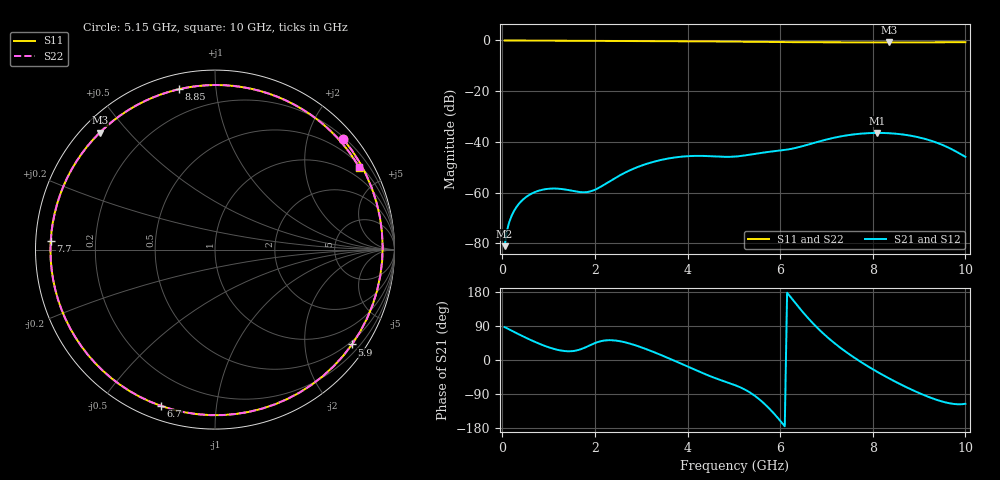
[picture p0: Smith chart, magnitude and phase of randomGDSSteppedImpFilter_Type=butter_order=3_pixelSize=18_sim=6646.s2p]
! freq	dB(S11)	phase(S11)	dB(S12)	phase(S12)
!  dB(S21)	phase(S21)	dB(S22)	phase(S22)
!S-par simulation data
#  GHz  S  DB  R 50
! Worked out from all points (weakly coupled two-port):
!   200 points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, 50 MHz to 10 GHz, reference 50 ohm
!   highest |S21| = -36.44 dB at 8.1 GHz (marker M1); lowest = -81.1 dB at 50 MHz (marker M2)
!   lowest |S11| = -0.8 dB at 8.35 GHz (marker M3), VSWR 22.50, Z = 2.61 + j20.9 ohm
!   |S11| at or under -10 dB: nowhere
!   |S22| runs from -0.8 to 0.0 dB; largest |S21 - S12| = 0
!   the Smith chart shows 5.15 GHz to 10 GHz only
!   S11 on the Smith chart (normalised r, x): 5.15 GHz: 0.24, +2.68; 5.9 GHz: 0.41, -3.15; 6.7 GHz: 0.06, -0.71; 7.7 GHz: 0.04, +0.03; 8.85 GHz: 0.07, +0.80; 10 GHz: 0.59, +3.69
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0.05  -0.00 -3.2  -81.08 86.8  -81.08 86.8  -0.00 -3.2
0.2  -0.02 -12.7  -69.16 77.4  -69.16 77.4  -0.02 -12.7
0.55  -0.05 -34.5  -61.25 56.4  -61.25 56.4  -0.05 -34.5
1.15  -0.09 -70.5  -58.37 28.1  -58.37 28.1  -0.09 -70.5
1.75  -0.12 -104.1  -59.83 31.0  -59.83 31.0  -0.12 -104.1
2.65  -0.17 -151.6  -52.11 46.7  -52.11 46.7  -0.17 -151.5
3.4  -0.23 168.2  -47.21 14.5  -47.21 14.5  -0.23 168.3
3.9  -0.29 138.5  -45.75 -11.8  -45.75 -11.8  -0.28 138.7
4.4  -0.36 104.4  -45.54 -38.3  -45.54 -38.3  -0.36 104.5
5.05  -0.49 50.1  -45.73 -67.6  -45.73 -67.6  -0.49 50.3
5.15  -0.51 40.7  -45.54 -72.7  -45.54 -72.7  -0.51 40.9
5.55  -0.59 1.0  -44.41 -103.7  -44.41 -103.7  -0.59 1.3
5.9  -0.65 -34.7  -43.62 -145.9  -43.62 -145.9  -0.65 -34.4
6.3  -0.69 -73.7  -42.50 154.6  -42.50 154.6  -0.69 -73.5
6.7  -0.71 -109.0  -40.55 97.8  -40.55 97.8  -0.71 -108.9
7.2  -0.74 -148.0  -38.20 41.8  -38.20 41.8  -0.74 -147.9
7.7  -0.76 177.0  -36.81 -1.8  -36.81 -1.8  -0.76 177.1
8.1  -0.77 150.7  -36.44 -31.5  -36.44 -31.5  -0.77 150.7
8.35  -0.77 134.6  -36.56 -48.4  -36.56 -48.4  -0.77 134.6
8.85  -0.76 102.7  -37.64 -79.0  -37.64 -79.0  -0.76 102.8
9.4  -0.73 67.7  -40.42 -105.9  -40.42 -105.9  -0.73 67.8
10  -0.68 29.6  -45.88 -115.5  -45.88 -115.5  -0.68 29.8
